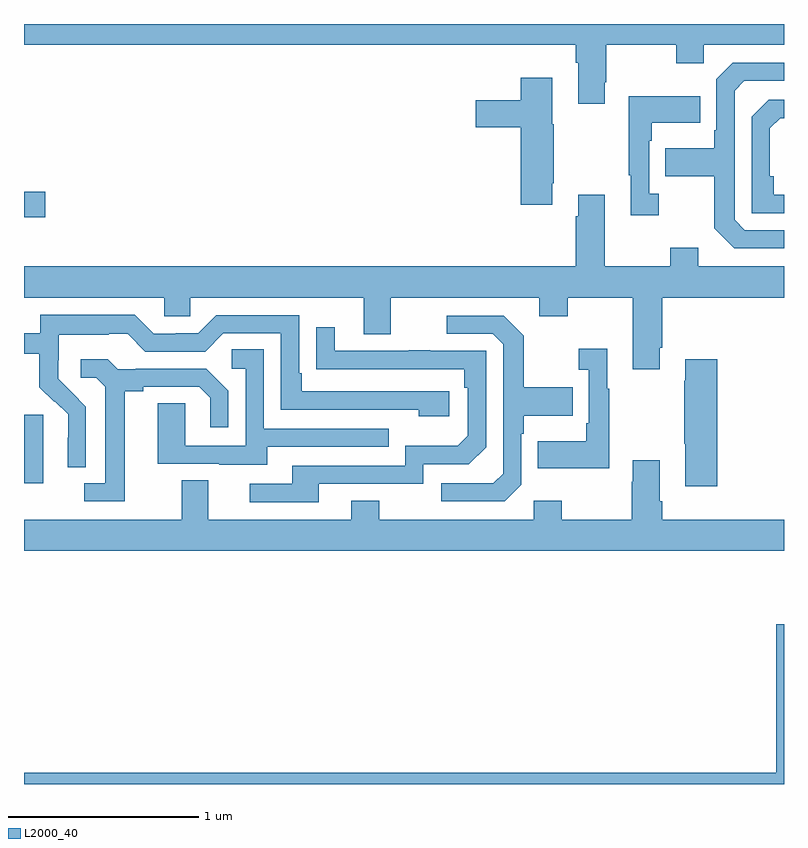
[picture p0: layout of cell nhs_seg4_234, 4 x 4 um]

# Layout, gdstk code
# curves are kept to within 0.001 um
import gdstk
lib = gdstk.Library(unit=1e-6, precision=1e-09)
def R(c, l, rs):  # rectangles x0, y0, x1, y1
    for r in rs: c.add(gdstk.rectangle(r[:2], r[2:], *l))
def P(c, l, *ps):  # polygons
    for p in ps: c.add(gdstk.Polygon(p, *l))
L2000_40 = (2000, 40)

nhs_seg4_234 = lib.new_cell('nhs_seg4_234')
R(nhs_seg4_234, L2000_40, [(121,822.482,121.102,822.843), (121,823.883,121.111,824.018)])
P(nhs_seg4_234, L2000_40, [(124.057,824.593),(124.065,824.593),(124.065,824.792),(124.432,824.792),(124.432,824.693),(124.578,824.693),(124.578,824.792),(125,824.792),(125,824.9),(121,824.9),(121,824.792),(123.905,824.792),(123.905,824.696),(123.917,824.696),(123.917,824.481),(124.057,824.481)],
  [(125,823.815),(124.794,823.815),(124.74,823.869),(124.74,824.55),(124.791,824.601),(125,824.601),(125,824.697),(124.731,824.697),(124.644,824.61),(124.644,824.341),(124.632,824.341),(124.632,824.245),(124.375,824.245),(124.375,824.098),(124.632,824.098),(124.632,823.825),(124.737,823.719),(125,823.719)],
  [(123.781,824.062),(123.789,824.062),(123.789,824.373),(123.781,824.373),(123.781,824.617),(123.614,824.617),(123.614,824.499),(123.378,824.499),(123.378,824.357),(123.614,824.357),(123.614,823.95),(123.781,823.95)],
  [(124.342,824.006),(124.29,824.006),(124.29,824.285),(124.303,824.285),(124.303,824.381),(124.559,824.381),(124.559,824.521),(124.182,824.521),(124.182,824.105),(124.193,824.105),(124.193,823.893),(124.342,823.893)],
  [(125,824.001),(124.946,824.001),(124.946,824.098),(124.926,824.098),(124.926,824.352),(124.979,824.405),(125,824.405),(125,824.502),(124.92,824.502),(124.83,824.412),(124.83,823.905),(125,823.905)],
  [(124.345,823.195),(124.358,823.195),(124.358,823.46),(125,823.46),(125,823.624),(124.549,823.624),(124.549,823.723),(124.402,823.723),(124.402,823.624),(124.057,823.624),(124.057,824.002),(123.917,824.002),(123.917,823.889),(123.905,823.889),(123.905,823.624),(121,823.624),(121,823.46),(121.737,823.46),(121.737,823.362),(121.875,823.362),(121.875,823.46),(122.789,823.46),(122.789,823.266),(122.929,823.266),(122.929,823.46),(123.713,823.46),(123.713,823.361),(123.861,823.361),(123.861,823.46),(124.205,823.46),(124.205,823.083),(124.345,823.083)],
  [(121.326,822.886),(121.18,823.034),(121.18,823.131),(121.182,823.131),(121.182,823.265),(121.445,823.265),(121.445,823.269),(121.545,823.269),(121.638,823.176),(121.953,823.176),(122.049,823.272),(122.352,823.272),(122.352,822.87),(123.077,822.87),(123.077,822.836),(123.238,822.836),(123.238,822.966),(122.461,822.966),(122.461,823.063),(122.448,823.063),(122.448,823.368),(122.013,823.368),(121.917,823.272),(121.799,823.272),(121.799,823.269),(121.683,823.269),(121.583,823.369),(121.086,823.369),(121.086,823.272),(121,823.272),(121,823.164),(121.081,823.164),(121.081,822.989),(121.158,822.912),(121.161,822.915),(121.232,822.845),(121.232,822.722),(121.23,822.722),(121.23,822.568),(121.326,822.568)],
  [(123.618,822.474),(123.618,822.743),(123.631,822.743),(123.631,822.839),(123.887,822.839),(123.887,822.987),(123.631,822.987),(123.631,823.259),(123.525,823.365),(123.225,823.365),(123.225,823.269),(123.468,823.269),(123.522,823.215),(123.522,822.534),(123.471,822.483),(123.195,822.483),(123.195,822.387),(123.531,822.387)],
  [(122.551,822.48),(123.102,822.48),(123.102,822.582),(123.342,822.582),(123.432,822.672),(123.432,823.179),(123.137,823.179),(123.137,823.184),(123.025,823.184),(123.025,823.179),(122.635,823.179),(122.635,823.303),(122.539,823.303),(122.539,823.084),(123.316,823.083),(123.316,822.986),(123.336,822.986),(123.336,822.732),(123.283,822.679),(123.006,822.679),(123.006,822.576),(122.411,822.576),(122.411,822.48),(122.187,822.48),(122.187,822.384),(122.551,822.384)],
  [(124.081,822.979),(124.069,822.979),(124.069,823.192),(123.921,823.192),(123.921,823.079),(123.972,823.079),(123.972,822.799),(123.96,822.799),(123.96,822.703),(123.703,822.703),(123.703,822.563),(124.081,822.563)],
  [(122.281,822.675),(122.921,822.675),(122.921,822.771),(122.262,822.771),(122.262,823.187),(122.094,823.187),(122.094,823.086),(122.166,823.086),(122.166,822.681),(121.848,822.681),(121.848,822.905),(121.703,822.905),(121.703,822.585),(122.027,822.585),(122.027,822.581),(122.281,822.581)],
  [(121.531,822.968),(121.627,822.968),(121.627,822.99),(121.922,822.99),(121.979,822.933),(121.979,822.777),(122.076,822.777),(122.076,822.97),(121.96,823.086),(121.588,823.086),(121.588,823.083),(121.494,823.083),(121.442,823.135),(121.299,823.135),(121.299,823.038),(121.38,823.038),(121.427,822.991),(121.427,822.483),(121.317,822.483),(121.317,822.387),(121.531,822.387)],
  [(124.649,823.135),(124.481,823.135),(124.481,823.022),(124.474,823.022),(124.474,822.691),(124.481,822.691),(124.481,822.468),(124.649,822.468)],
  [(125,822.292),(124.358,822.292),(124.358,822.388),(124.345,822.388),(124.345,822.604),(124.205,822.604),(124.205,822.491),(124.198,822.491),(124.198,822.292),(123.831,822.292),(123.831,822.391),(123.684,822.391),(123.684,822.292),(122.871,822.292),(122.871,822.391),(122.723,822.391),(122.723,822.292),(121.969,822.292),(121.969,822.5),(121.829,822.5),(121.829,822.292),(121,822.292),(121,822.128),(125,822.128)],
  [(125,821.74),(124.958,821.74),(124.958,820.96),(121,820.96),(121,820.9),(125,820.9)])

lib.write_gds('nhs_seg4_234.gds')
